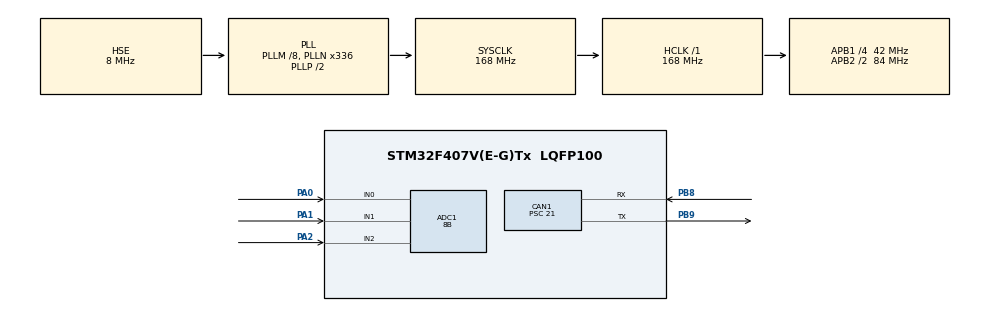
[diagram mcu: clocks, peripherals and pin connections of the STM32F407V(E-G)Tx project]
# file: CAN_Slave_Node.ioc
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ADC1.Channel-1\#ChannelRegularConversion=ADC_CHANNEL_0
ADC1.Channel-2\#ChannelRegularConversion=ADC_CHANNEL_1
ADC1.Channel-3\#ChannelRegularConversion=ADC_CHANNEL_2
ADC1.ClockPrescaler=ADC_CLOCK_SYNC_PCLK_DIV8
ADC1.ContinuousConvMode=ENABLE
ADC1.DMAContinuousRequests=ENABLE
ADC1.NbrOfConversion=3
ADC1.NbrOfConversionFlag=1
ADC1.Rank-1\#ChannelRegularConversion=1
ADC1.Rank-2\#ChannelRegularConversion=2
ADC1.Rank-3\#ChannelRegularConversion=3
ADC1.Resolution=ADC_RESOLUTION_8B
ADC1.SamplingTime-1\#ChannelRegularConversion=ADC_SAMPLETIME_480CYCLES
ADC1.SamplingTime-2\#ChannelRegularConversion=ADC_SAMPLETIME_480CYCLES
ADC1.SamplingTime-3\#ChannelRegularConversion=ADC_SAMPLETIME_480CYCLES
ADC1.ScanConvMode=ENABLE
ADC1.master=1
CAN1.BS1=CAN_BS1_13TQ
CAN1.BS2=CAN_BS2_2TQ
CAN1.CalculateTimeQuantum=500.0
CAN1.Mode=CAN_MODE_NORMAL
CAN1.NART=ENABLE
CAN1.Prescaler=21
Dma.ADC1.0.Direction=DMA_PERIPH_TO_MEMORY
Dma.ADC1.0.FIFOMode=DMA_FIFOMODE_DISABLE
Dma.ADC1.0.Instance=DMA2_Stream0
Dma.ADC1.0.MemDataAlignment=DMA_MDATAALIGN_BYTE
Dma.ADC1.0.MemInc=DMA_MINC_ENABLE
Dma.ADC1.0.Mode=DMA_CIRCULAR
Dma.ADC1.0.PeriphDataAlignment=DMA_PDATAALIGN_BYTE
Dma.ADC1.0.PeriphInc=DMA_PINC_DISABLE
Dma.ADC1.0.Priority=DMA_PRIORITY_LOW
Dma.Request0=ADC1
Mcu.Family=STM32F4
Mcu.Name=STM32F407V(E-G)Tx
Mcu.Package=LQFP100
NVIC.CAN1_RX0_IRQn=true\:0\:2\:true\:false\:true\:true\:true
NVIC.CAN1_TX_IRQn=true\:0\:0\:true\:false\:true\:true\:true
NVIC.DMA2_Stream0_IRQn=true\:0\:0\:false\:false\:true\:false\:true
NVIC.PriorityGroup=NVIC_PRIORITYGROUP_0
NVIC.TIM2_IRQn=true\:0\:1\:false\:false\:true\:true\:true
PA0-WKUP.Signal=ADCx_IN0
PA1.Signal=ADCx_IN1
PA13.Mode=Serial_Wire
PA13.Signal=SYS_JTMS-SWDIO
PA14.Mode=Serial_Wire
PA14.Signal=SYS_JTCK-SWCLK
PA2.Signal=ADCx_IN2
PB8.Mode=Master
PB8.Signal=CAN1_RX
PB9.Mode=Master
PB9.Signal=CAN1_TX
PH0-OSC_IN.Mode=HSE-External-Oscillator
PH0-OSC_IN.Signal=RCC_OSC_IN
PH1-OSC_OUT.Mode=HSE-External-Oscillator
PH1-OSC_OUT.Signal=RCC_OSC_OUT
ProjectManager.HeapSize=0x200
ProjectManager.StackSize=0x400
ProjectManager.TargetToolchain=SW4STM32
RCC.48MHZClocksFreq_Value=48000000
RCC.AHBFreq_Value=168000000
RCC.APB1CLKDivider=RCC_HCLK_DIV4
RCC.APB1Freq_Value=42000000
RCC.APB1TimFreq_Value=84000000
RCC.APB2CLKDivider=RCC_HCLK_DIV2
RCC.APB2Freq_Value=84000000
RCC.APB2TimFreq_Value=168000000
RCC.CortexFreq_Value=168000000
RCC.HCLKFreq_Value=168000000
RCC.HSE_VALUE=8000000
RCC.HSI_VALUE=16000000
RCC.LSE_VALUE=32768
RCC.PLLM=8
RCC.PLLN=336
RCC.PLLQ=7
RCC.PLLSourceVirtual=RCC_PLLSOURCE_HSE
RCC.SYSCLKFreq_VALUE=168000000
RCC.SYSCLKSource=RCC_SYSCLKSOURCE_PLLCLK
RCC.VCOOutputFreq_Value=336000000
SH.ADCx_IN0.0=ADC1_IN0,IN0
SH.ADCx_IN1.0=ADC1_IN1,IN1
SH.ADCx_IN2.0=ADC1_IN2,IN2
TIM2.Period=500
TIM2.Prescaler=42000
TIM2.TIM_MasterOutputTrigger=TIM_TRGO_UPDATE
VP_TIM2_VS_ClockSourceINT.Mode=Internal
board=STM32F407G-DISC1

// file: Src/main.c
/* USER CODE BEGIN Header */
/**
  ******************************************************************************
  * @file           : main.c
  * @brief          : Main program body
  ******************************************************************************
  * @attention
  *
  * <h2><center>&copy; Copyright (c) 2020 STMicroelectronics.
  * All rights reserved.</center></h2>
  *
  * This software component is licensed by ST under BSD 3-Clause license,
  * the "License"; You may not use this file except in compliance with the
  * License. You may obtain a copy of the License at:
  *                        opensource.org/licenses/BSD-3-Clause
  *
  ******************************************************************************
  */
/* USER CODE END Header */

#include "main.h"

/* USER CODE BEGIN Includes */
#include "string.h"
#include "stdio.h"
/* USER CODE END Includes */

ADC_HandleTypeDef hadc1;
DMA_HandleTypeDef hdma_adc1;

CAN_HandleTypeDef hcan1;

TIM_HandleTypeDef htim2;

/* USER CODE BEGIN PV */
CAN_TxHeaderTypeDef TxHeader;
CAN_RxHeaderTypeDef RxHeader;
CAN_FilterTypeDef sFilterConfig;
uint32_t TxMailbox;

char msg[50];
uint8_t tim_count = 0;

uint8_t adcArray[3];
/* USER CODE END PV */

void SystemClock_Config(void);
static void MX_GPIO_Init(void);
static void MX_CAN1_Init(void);
static void MX_TIM2_Init(void);
static void MX_DMA_Init(void);
static void MX_ADC1_Init(void);
/* USER CODE BEGIN PFP */
void CAN_Tx(void);
void CAN_Filer_Config(void);
void HAL_CAN_TxMailbox0CompleteCallback(CAN_HandleTypeDef *hcan);
void HAL_CAN_TxMailbox1CompleteCallback(CAN_HandleTypeDef *hcan);
void HAL_CAN_TxMailbox2CompleteCallback(CAN_HandleTypeDef *hcan);
void HAL_TIM_PeriodElapsedCallback(TIM_HandleTypeDef *htim);
/* USER CODE END PFP */

int main(void)
{

  /* MCU Configuration--------------------------------------------------------*/

  /* Reset of all peripherals, Initializes the Flash interface and the Systick. */
  HAL_Init();

  /* Configure the system clock */
  SystemClock_Config();

  /* Initialize all configured peripherals */
  MX_GPIO_Init();
  MX_CAN1_Init();
  MX_TIM2_Init();
  MX_DMA_Init();
  MX_ADC1_Init();
  /* USER CODE BEGIN 2 */

  /****************ADC Setup**********/
  HAL_ADC_Start_DMA(&hadc1, (uint32_t *)adcArray, 3);
  /************************************/

  CAN_Filer_Config();
  HAL_CAN_ActivateNotification(&hcan1, CAN_IT_TX_MAILBOX_EMPTY | CAN_IT_RX_FIFO0_MSG_PENDING );

  if( HAL_CAN_Start(&hcan1)!= HAL_OK)
  {
	  Error_Handler();
  }

  HAL_TIM_Base_Start_IT(&htim2);

  /* USER CODE END 2 */

  /* Infinite loop */
  while (1)
  {

  }
}

void SystemClock_Config(void)
{
  RCC_OscInitTypeDef RCC_OscInitStruct = {0};
  RCC_ClkInitTypeDef RCC_ClkInitStruct = {0};

  /** Configure the main internal regulator output voltage
  */
  __HAL_RCC_PWR_CLK_ENABLE();
  __HAL_PWR_VOLTAGESCALING_CONFIG(PWR_REGULATOR_VOLTAGE_SCALE1);
  /** Initializes the CPU, AHB and APB busses clocks
  */
  RCC_OscInitStruct.OscillatorType = RCC_OSCILLATORTYPE_HSE;
  RCC_OscInitStruct.HSEState = RCC_HSE_ON;
  RCC_OscInitStruct.PLL.PLLState = RCC_PLL_ON;
  RCC_OscInitStruct.PLL.PLLSource = RCC_PLLSOURCE_HSE;
  RCC_OscInitStruct.PLL.PLLM = 8;
  RCC_OscInitStruct.PLL.PLLN = 336;
  RCC_OscInitStruct.PLL.PLLP = RCC_PLLP_DIV2;
  RCC_OscInitStruct.PLL.PLLQ = 7;
  if (HAL_RCC_OscConfig(&RCC_OscInitStruct) != HAL_OK)
  {
    Error_Handler();
  }
  /** Initializes the CPU, AHB and APB busses clocks
  */
  RCC_ClkInitStruct.ClockType = RCC_CLOCKTYPE_HCLK|RCC_CLOCKTYPE_SYSCLK
                              |RCC_CLOCKTYPE_PCLK1|RCC_CLOCKTYPE_PCLK2;
  RCC_ClkInitStruct.SYSCLKSource = RCC_SYSCLKSOURCE_PLLCLK;
  RCC_ClkInitStruct.AHBCLKDivider = RCC_SYSCLK_DIV1;
  RCC_ClkInitStruct.APB1CLKDivider = RCC_HCLK_DIV4;
  RCC_ClkInitStruct.APB2CLKDivider = RCC_HCLK_DIV2;

  if (HAL_RCC_ClockConfig(&RCC_ClkInitStruct, FLASH_LATENCY_5) != HAL_OK)
  {
    Error_Handler();
  }
}

static void MX_ADC1_Init(void)
{

  ADC_ChannelConfTypeDef sConfig = {0};

  /** Configure the global features of the ADC (Clock, Resolution, Data Alignment and number of conversion)
  */
  hadc1.Instance = ADC1;
  hadc1.Init.ClockPrescaler = ADC_CLOCK_SYNC_PCLK_DIV8;
  hadc1.Init.Resolution = ADC_RESOLUTION_8B;
  hadc1.Init.ScanConvMode = ENABLE;
  hadc1.Init.ContinuousConvMode = ENABLE;
  hadc1.Init.DiscontinuousConvMode = DISABLE;
  hadc1.Init.ExternalTrigConvEdge = ADC_EXTERNALTRIGCONVEDGE_NONE;
  hadc1.Init.ExternalTrigConv = ADC_SOFTWARE_START;
  hadc1.Init.DataAlign = ADC_DATAALIGN_RIGHT;
  hadc1.Init.NbrOfConversion = 3;
  hadc1.Init.DMAContinuousRequests = ENABLE;
  hadc1.Init.EOCSelection = ADC_EOC_SINGLE_CONV;
  if (HAL_ADC_Init(&hadc1) != HAL_OK)
  {
    Error_Handler();
  }
  /** Configure for the selected ADC regular channel its corresponding rank in the sequencer and its sample time.
  */
  sConfig.Channel = ADC_CHANNEL_0;
  sConfig.Rank = 1;
  sConfig.SamplingTime = ADC_SAMPLETIME_480CYCLES;
  if (HAL_ADC_ConfigChannel(&hadc1, &sConfig) != HAL_OK)
  {
    Error_Handler();
  }
  /** Configure for the selected ADC regular channel its corresponding rank in the sequencer and its sample time.
  */
  sConfig.Channel = ADC_CHANNEL_1;
  sConfig.Rank = 2;
  if (HAL_ADC_ConfigChannel(&hadc1, &sConfig) != HAL_OK)
  {
    Error_Handler();
  }
  /** Configure for the selected ADC regular channel its corresponding rank in the sequencer and its sample time.
  */
  sConfig.Channel = ADC_CHANNEL_2;
  sConfig.Rank = 3;
  if (HAL_ADC_ConfigChannel(&hadc1, &sConfig) != HAL_OK)
  {
    Error_Handler();
  }

}

static void MX_CAN1_Init(void)
{

  hcan1.Instance = CAN1;
  hcan1.Init.Prescaler = 21;
  hcan1.Init.Mode = CAN_MODE_NORMAL;
  hcan1.Init.SyncJumpWidth = CAN_SJW_1TQ;
  hcan1.Init.TimeSeg1 = CAN_BS1_13TQ;
  hcan1.Init.TimeSeg2 = CAN_BS2_2TQ;
  hcan1.Init.TimeTriggeredMode = DISABLE;
  hcan1.Init.AutoBusOff = DISABLE;
  hcan1.Init.AutoWakeUp = DISABLE;
  hcan1.Init.AutoRetransmission = ENABLE;
  hcan1.Init.ReceiveFifoLocked = DISABLE;
  hcan1.Init.TransmitFifoPriority = DISABLE;
  if (HAL_CAN_Init(&hcan1) != HAL_OK)
  {
    Error_Handler();
  }

}

static void MX_TIM2_Init(void)
{

  TIM_ClockConfigTypeDef sClockSourceConfig = {0};
  TIM_MasterConfigTypeDef sMasterConfig = {0};

  htim2.Instance = TIM2;
  htim2.Init.Prescaler = 42000;
  htim2.Init.CounterMode = TIM_COUNTERMODE_UP;
  htim2.Init.Period = 500;
  htim2.Init.ClockDivision = TIM_CLOCKDIVISION_DIV1;
  htim2.Init.AutoReloadPreload = TIM_AUTORELOAD_PRELOAD_DISABLE;
  if (HAL_TIM_Base_Init(&htim2) != HAL_OK)
  {
    Error_Handler();
  }
  sClockSourceConfig.ClockSource = TIM_CLOCKSOURCE_INTERNAL;
  if (HAL_TIM_ConfigClockSource(&htim2, &sClockSourceConfig) != HAL_OK)
  {
    Error_Handler();
  }
  sMasterConfig.MasterOutputTrigger = TIM_TRGO_UPDATE;
  sMasterConfig.MasterSlaveMode = TIM_MASTERSLAVEMODE_DISABLE;
  if (HAL_TIMEx_MasterConfigSynchronization(&htim2, &sMasterConfig) != HAL_OK)
  {
    Error_Handler();
  }

}

static void MX_DMA_Init(void)
{

  /* DMA controller clock enable */
  __HAL_RCC_DMA2_CLK_ENABLE();

  /* DMA interrupt init */
  /* DMA2_Stream0_IRQn interrupt configuration */
  HAL_NVIC_SetPriority(DMA2_Stream0_IRQn, 0, 0);
  HAL_NVIC_EnableIRQ(DMA2_Stream0_IRQn);

}

static void MX_GPIO_Init(void)
{

  /* GPIO Ports Clock Enable */
  __HAL_RCC_GPIOH_CLK_ENABLE();
  __HAL_RCC_GPIOA_CLK_ENABLE();
  __HAL_RCC_GPIOB_CLK_ENABLE();

}

/* USER CODE BEGIN 4 */

void CAN_Filer_Config(void)
{
	sFilterConfig.FilterActivation = ENABLE;
	sFilterConfig.FilterBank = 0;
	sFilterConfig.FilterFIFOAssignment = CAN_RX_FIFO0;
	sFilterConfig.FilterIdHigh = 0x0000;
	sFilterConfig.FilterIdLow = 0x0000;
	sFilterConfig.FilterMaskIdHigh = 0x000;
	sFilterConfig.FilterMaskIdLow = 0x0000;
	sFilterConfig.FilterMode = CAN_FILTERMODE_IDMASK;
	sFilterConfig.FilterScale = CAN_FILTERSCALE_32BIT;

	if(HAL_CAN_ConfigFilter(&hcan1, &sFilterConfig)!= HAL_OK)
	{
		Error_Handler();
	}

}

void CAN_Tx(void)
{
	TxHeader.DLC = 3;
	TxHeader.StdId = 0x123;
	TxHeader.IDE = CAN_ID_STD;
	TxHeader.RTR = CAN_RTR_DATA;

	/*Node 1 tx msg*/
	if( HAL_CAN_AddTxMessage(&hcan1, &TxHeader, adcArray, &TxMailbox)!= HAL_OK)
	{
		Error_Handler();
	}

	/* Node 2 tx msg*/
//	if(tim_count == 4)
//	{
//			if( HAL_CAN_AddTxMessage(&hcan1, &TxHeader, array_2, &TxMailbox)!= HAL_OK)
//				{
//					Error_Handler();
//				}
//		tim_count = 0;
//
//	}

}

void HAL_CAN_TxMailbox0CompleteCallback(CAN_HandleTypeDef *hcan)
{

//	sprintf(msg, "Message Transmitted M0\r\n");
//
//	HAL_UART_Transmit(&huart4, (uint8_t*)msg, strlen(msg), HAL_MAX_DELAY);

}

void HAL_CAN_TxMailbox1CompleteCallback(CAN_HandleTypeDef *hcan)
{

//	sprintf(msg, "Message Transmitted M1\r\n");
//
//	HAL_UART_Transmit(&huart4, (uint8_t*)msg, strlen(msg), HAL_MAX_DELAY);

}

void HAL_CAN_TxMailbox2CompleteCallback(CAN_HandleTypeDef *hcan)
{

//	sprintf(msg, "Message Transmitted M2\r\n");
//
//	HAL_UART_Transmit(&huart4, (uint8_t*)msg, strlen(msg), HAL_MAX_DELAY);

}

void HAL_CAN_RxFifo0MsgPendingCallback(CAN_HandleTypeDef *hcan)
{

//	if(HAL_CAN_GetRxMessage(&hcan1, CAN_RX_FIFO0,&RxHeader, rcv_array) != HAL_OK)
//	{
//		Error_Handler();
//	}
//
//	sprintf(msg, "Message Received : %s\r\n", rcv_array);
//	HAL_UART_Transmit(&huart4, (uint8_t*)msg, strlen(msg), HAL_MAX_DELAY);

}

void HAL_TIM_PeriodElapsedCallback(TIM_HandleTypeDef *htim)
{
// tim_count++;
 CAN_Tx();
}

/* USER CODE END 4 */

void Error_Handler(void)
{
}

/************************ (C) COPYRIGHT STMicroelectronics *****END OF FILE****/
